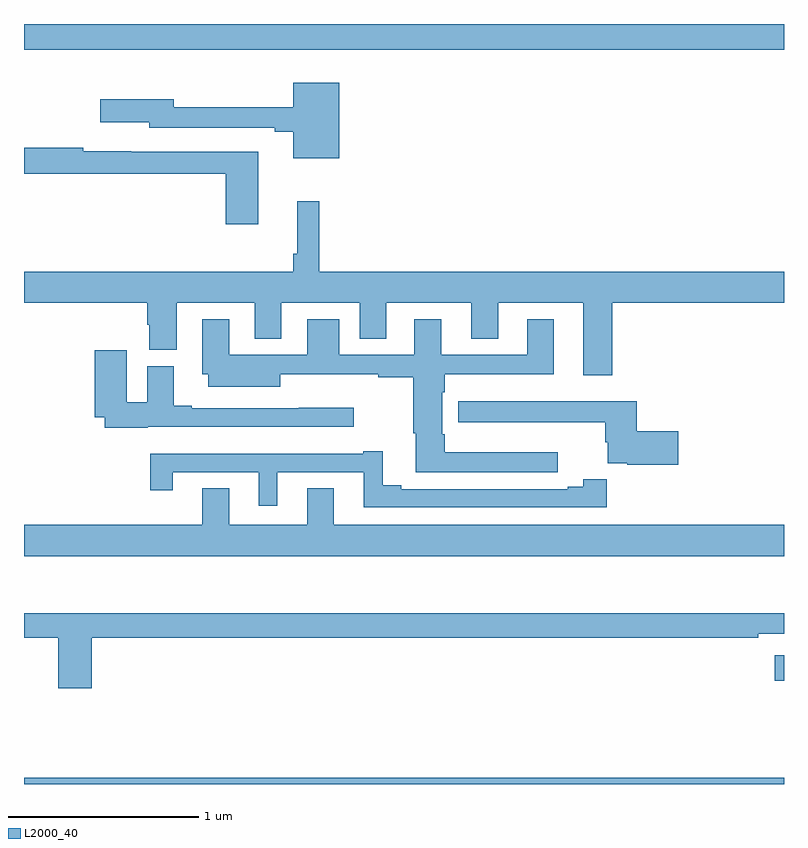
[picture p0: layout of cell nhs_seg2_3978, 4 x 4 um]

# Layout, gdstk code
import gdstk
lib = gdstk.Library(unit=1e-6, precision=1e-09)
def R(c, l, rs):  # rectangles x0, y0, x1, y1
    for r in rs: c.add(gdstk.rectangle(r[:2], r[2:], *l))
def P(c, l, *ps):  # polygons
    for p in ps: c.add(gdstk.Polygon(p, *l))
L2000_40 = (2000, 40)

nhs_seg2_3978 = lib.new_cell('nhs_seg2_3978')
R(nhs_seg2_3978, L2000_40, [(323,615.8,327,615.832), (326.952,616.343,327,616.477), (323,619.664,327,619.8)])
P(nhs_seg2_3978, L2000_40, [(324.658,619.492),(324.416,619.492),(324.416,619.363),(323.788,619.363),(323.788,619.405),(323.4,619.405),(323.4,619.283),(323.66,619.283),(323.66,619.254),(324.32,619.254),(324.32,619.234),(324.416,619.234),(324.416,619.094),(324.658,619.094)],
  [(324.232,619.128),(323.564,619.128),(323.564,619.129),(323.312,619.129),(323.312,619.148),(323,619.148),(323,619.012),(324.062,619.012),(324.062,618.747),(324.232,618.747)],
  [(326.096,618.332),(327,618.332),(327,618.496),(324.554,618.496),(324.554,618.868),(324.437,618.868),(324.437,618.592),(324.418,618.592),(324.418,618.496),(323,618.496),(323,618.332),(323.648,618.332),(323.648,618.216),(323.66,618.216),(323.66,618.085),(323.803,618.085),(323.803,618.332),(324.215,618.332),(324.215,618.143),(324.355,618.143),(324.355,618.332),(324.767,618.332),(324.767,618.143),(324.907,618.143),(324.907,618.332),(325.355,618.332),(325.355,618.143),(325.495,618.143),(325.495,618.332),(325.943,618.332),(325.943,617.952),(326.096,617.952)],
  [(325.81,617.545),(325.214,617.545),(325.214,617.641),(325.201,617.641),(325.201,617.861),(325.214,617.861),(325.214,617.957),(325.789,617.957),(325.789,618.247),(325.649,618.247),(325.649,618.058),(325.195,618.058),(325.195,618.247),(325.055,618.247),(325.055,618.058),(324.658,618.058),(324.658,618.247),(324.491,618.247),(324.491,618.058),(324.079,618.058),(324.079,618.247),(323.939,618.247),(323.939,617.957),(323.969,617.957),(323.969,617.891),(324.349,617.891),(324.349,617.957),(324.865,617.957),(324.865,617.94),(325.049,617.94),(325.049,617.645),(325.061,617.645),(325.061,617.441),(325.81,617.441)],
  [(323.652,617.681),(324.736,617.681),(324.736,617.779),(324.445,617.779),(324.445,617.778),(323.884,617.778),(323.884,617.791),(323.788,617.791),(323.788,618),(323.648,618),(323.648,617.809),(323.542,617.809),(323.542,618.082),(323.372,618.082),(323.372,617.729),(323.426,617.729),(323.426,617.675),(323.652,617.675)],
  [(326.443,617.657),(326.225,617.657),(326.225,617.815),(325.286,617.815),(325.286,617.705),(326.06,617.705),(326.06,617.6),(326.072,617.6),(326.072,617.489),(326.176,617.489),(326.176,617.479),(326.443,617.479)],
  [(326.068,617.404),(325.943,617.404),(325.943,617.365),(325.862,617.365),(325.862,617.352),(324.985,617.352),(324.985,617.372),(324.889,617.372),(324.889,617.551),(324.785,617.551),(324.785,617.539),(323.665,617.539),(323.665,617.346),(323.782,617.346),(323.782,617.442),(324.236,617.442),(324.236,617.265),(324.334,617.265),(324.334,617.442),(324.788,617.442),(324.788,617.256),(326.068,617.256)],
  [(327,617.164),(324.631,617.164),(324.631,617.357),(324.491,617.357),(324.491,617.164),(324.079,617.164),(324.079,617.357),(323.939,617.357),(323.939,617.164),(323,617.164),(323,617),(327,617)],
  [(323.357,616.57),(326.864,616.57),(326.864,616.59),(327,616.59),(327,616.699),(323,616.699),(323,616.57),(323.179,616.57),(323.179,616.305),(323.357,616.305)])

lib.write_gds('nhs_seg2_3978.gds')
